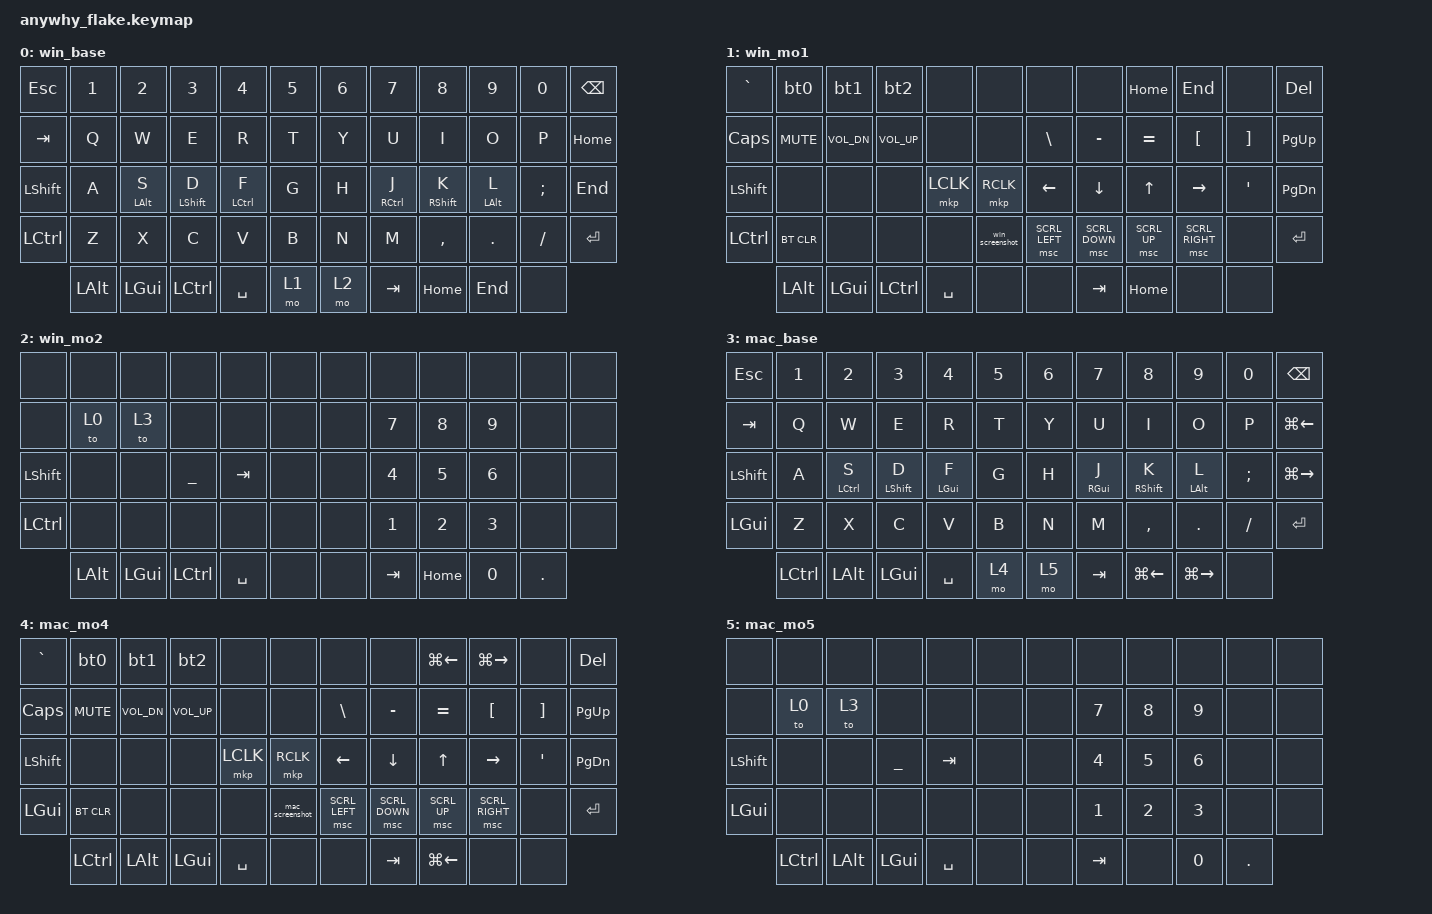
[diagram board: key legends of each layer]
#include <behaviors.dtsi>
#include <dt-bindings/zmk/bt.h>
#include <dt-bindings/zmk/keys.h>
#include <dt-bindings/zmk/mouse.h>
#include <dt-bindings/zmk/pointing.h>

/ {
    macros {
        bt_sel_0_layer: bt_sel_0_layer {
            compatible = "zmk,behavior-macro";
            #binding-cells = <0>;
            bindings = <&to 0 &bt BT_SEL 0>;
            label = "BT_SEL_0_LAYER";
        };

        bt_sel_1_layer: bt_sel_1_layer {
            compatible = "zmk,behavior-macro";
            #binding-cells = <0>;
            bindings = <&to 3 &bt BT_SEL 1>;
            label = "BT_SEL_1_LAYER";
        };

        bt_clr_0: bt_clr_0 {
            compatible = "zmk,behavior-macro";
            #binding-cells = <0>;
            bindings = <&bt BT_SEL 0 &bt BT_CLR>;
            label = "BT_CLR_0";
        };

        bt_clr_1: bt_clr_1 {
            compatible = "zmk,behavior-macro";
            #binding-cells = <0>;
            bindings = <&bt BT_SEL 1 &bt BT_CLR>;
            label = "BT_CLR_1";
        };

        bt_clr_2: bt_clr_2 {
            compatible = "zmk,behavior-macro";
            #binding-cells = <0>;
            bindings = <&bt BT_SEL 2 &bt BT_CLR>;
            label = "BT_CLR_2";
        };

        bt_clr_3: bt_clr_3 {
            compatible = "zmk,behavior-macro";
            #binding-cells = <0>;
            bindings = <&bt BT_SEL 3 &bt BT_CLR>;
            label = "BT_CLR_3";
        };

        bt_clr_4: bt_clr_4 {
            compatible = "zmk,behavior-macro";
            #binding-cells = <0>;
            bindings = <&bt BT_SEL 4 &bt BT_CLR>;
            label = "BT_CLR_4";
        };

        win_screenshot: win_screenshot {
            compatible = "zmk,behavior-macro";
            #binding-cells = <0>;
            bindings = <&kp LG(LS(S))>;
            label = "WIN_SCREENSHOT";
        };

        mac_screenshot: mac_screenshot {
            compatible = "zmk,behavior-macro";
            #binding-cells = <0>;
            bindings = <&kp LS(LG(N4))>;
            label = "MAC_SCREENSHOT";
        };
    };

    behaviors {
        hm: homerow_mods {
            compatible = "zmk,behavior-hold-tap";
            label = "HOMEROW_MODS";
            #binding-cells = <2>;
            tapping-term-ms = <300>;
            quick-tap-ms = <0>;
            flavor = "tap-preferred";
            bindings = <&kp>, <&kp>;
        };

        bt0: bt0 {
            compatible = "zmk,behavior-mod-morph";
            label = "BT0";
            bindings = <&bt_sel_0_layer>, <&bt_clr_0>;

            #binding-cells = <0>;
            mods = <(MOD_LSFT|MOD_RSFT)>;
        };

        bt1: bt1 {
            compatible = "zmk,behavior-mod-morph";
            label = "BT1";
            bindings = <&bt_sel_1_layer>, <&bt_clr_1>;

            #binding-cells = <0>;
            mods = <(MOD_LSFT|MOD_RSFT)>;
        };

        bt2: bt2 {
            compatible = "zmk,behavior-mod-morph";
            label = "BT2";
            bindings = <&bt BT_SEL 2>, <&bt_clr_2>;

            #binding-cells = <0>;
            mods = <(MOD_LSFT|MOD_RSFT)>;
        };

        bt3: bt3 {
            compatible = "zmk,behavior-mod-morph";
            label = "BT3";
            bindings = <&bt BT_SEL 3>, <&bt_clr_3>;

            #binding-cells = <0>;
            mods = <(MOD_LSFT|MOD_RSFT)>;
        };

        bt4: bt4 {
            compatible = "zmk,behavior-mod-morph";
            label = "BT4";
            bindings = <&bt BT_SEL 4>, <&bt_clr_4>;

            #binding-cells = <0>;
            mods = <(MOD_LSFT|MOD_RSFT)>;
        };
    };

    keymap {
        compatible = "zmk,keymap";

        win_base {
            bindings = <
&kp ESC    &kp N1        &kp N2        &kp N3        &kp N4        &kp N5    &kp N6    &kp N7          &kp N8        &kp N9      &kp N0    &kp BSPC
&kp TAB    &kp Q         &kp W         &kp E         &kp R         &kp T     &kp Y     &kp U           &kp I         &kp O       &kp P     &kp HOME
&kp LSHFT  &kp A         &hm LALT S    &hm LSHFT D   &hm LCTRL F   &kp G     &kp H     &hm RCTRL J     &hm RSHFT K   &hm LALT L  &kp SEMI  &kp END
&kp LCTRL  &kp Z         &kp X         &kp C         &kp V         &kp B     &kp N     &kp M           &kp COMMA     &kp DOT     &kp FSLH  &kp ENTER
           &kp LALT      &kp LGUI      &kp LCTRL     &kp SPACE     &mo 1     &mo 2     &kp TAB         &kp HOME      &kp END     &none
            >;
        };

        win_mo1 {
            bindings = <
&kp GRAVE  &bt0           &bt1          &bt2          &none         &none             &none            &none            &kp HOME       &kp END          &none     &kp DEL
&kp CAPS   &kp C_MUTE     &kp C_VOL_DN  &kp C_VOL_UP  &none         &none             &kp BSLH         &kp MINUS        &kp EQUAL      &kp LBKT         &kp RBKT  &kp PG_UP
&kp LSHFT  &none          &none         &none         &mkp LCLK     &mkp RCLK         &kp LEFT         &kp DOWN         &kp UP         &kp RIGHT        &kp APOS  &kp PG_DN
&kp LCTRL  &bt BT_CLR     &none         &none         &none         &win_screenshot   &msc SCRL_LEFT   &msc SCRL_DOWN   &msc SCRL_UP   &msc SCRL_RIGHT  &none     &kp ENTER
           &kp LALT       &kp LGUI      &kp LCTRL     &kp SPACE     &none             &none            &kp TAB          &kp HOME       &none            &none
            >;
        };

        win_mo2 {
            bindings = <
&none      &none      &none      &none       &none       &none     &none     &none      &none      &none      &none     &none
&none      &to 0      &to 3      &none       &none       &none     &none     &kp N7     &kp N8     &kp N9     &none     &none
&kp LSHFT  &none      &none      &kp UNDER   &kp TAB     &none     &none     &kp N4     &kp N5     &kp N6     &none     &none
&kp LCTRL  &none      &none      &none       &none       &none     &none     &kp N1     &kp N2     &kp N3     &none     &none
           &kp LALT   &kp LGUI   &kp LCTRL   &kp SPACE   &none     &none     &kp TAB    &kp HOME   &kp N0     &kp DOT
            >;
        };

        mac_base {
            bindings = <
&kp ESC    &kp N1        &kp N2        &kp N3        &kp N4        &kp N5    &kp N6    &kp N7          &kp N8        &kp N9          &kp N0    &kp BSPC
&kp TAB    &kp Q         &kp W         &kp E         &kp R         &kp T     &kp Y     &kp U           &kp I         &kp O           &kp P     &kp LG(LEFT)
&kp LSHFT  &kp A         &hm LCTRL S   &hm LSHFT D   &hm LGUI F    &kp G     &kp H     &hm RGUI J      &hm RSHFT K   &hm LALT L      &kp SEMI  &kp LG(RIGHT)
&kp LGUI   &kp Z         &kp X         &kp C         &kp V         &kp B     &kp N     &kp M           &kp COMMA     &kp DOT         &kp FSLH  &kp ENTER
           &kp LCTRL     &kp LALT      &kp LGUI      &kp SPACE     &mo 4     &mo 5     &kp TAB         &kp LG(LEFT)  &kp LG(RIGHT)   &none
            >;
        };

        mac_mo4 {
            bindings = <
&kp GRAVE  &bt0           &bt1          &bt2          &none         &none             &none            &none            &kp LG(LEFT)   &kp LG(RIGHT)    &none     &kp DEL
&kp CAPS   &kp C_MUTE     &kp C_VOL_DN  &kp C_VOL_UP  &none         &none             &kp BSLH         &kp MINUS        &kp EQUAL      &kp LBKT         &kp RBKT  &kp PG_UP
&kp LSHFT  &none          &none         &none         &mkp LCLK     &mkp RCLK         &kp LEFT         &kp DOWN         &kp UP         &kp RIGHT        &kp APOS  &kp PG_DN
&kp LGUI   &bt BT_CLR     &none         &none         &none         &mac_screenshot   &msc SCRL_LEFT   &msc SCRL_DOWN   &msc SCRL_UP   &msc SCRL_RIGHT  &none     &kp ENTER
           &kp LCTRL      &kp LALT      &kp LGUI      &kp SPACE     &none             &none            &kp TAB          &kp LG(LEFT)   &none            &none
            >;
        };

        mac_mo5 {
            bindings = <
&none      &none      &none      &none       &none       &none     &none     &none      &none      &none      &none     &none
&none      &to 0      &to 3      &none       &none       &none     &none     &kp N7     &kp N8     &kp N9     &none     &none
&kp LSHFT  &none      &none      &kp UNDER   &kp TAB     &none     &none     &kp N4     &kp N5     &kp N6     &none     &none
&kp LGUI   &none      &none      &none       &none       &none     &none     &kp N1     &kp N2     &kp N3     &none     &none
           &kp LCTRL  &kp LALT   &kp LGUI    &kp SPACE   &none     &none     &kp TAB    &none      &kp N0     &kp DOT
            >;
        };
    };
};
